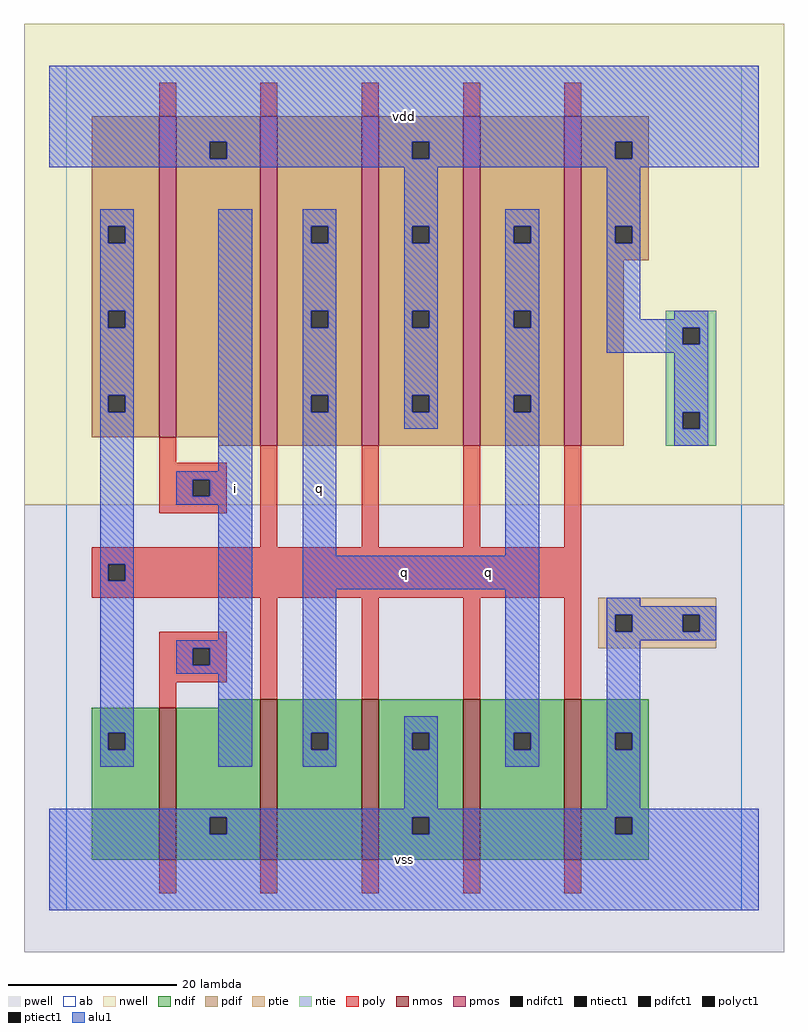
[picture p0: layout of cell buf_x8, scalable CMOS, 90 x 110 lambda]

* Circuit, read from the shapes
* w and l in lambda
.subckt buf_x8 i q vdd vss
M1 vss i n1 vss nfet w=18 l=2
M2 q n1 vss vss nfet w=19 l=2 m=4
M3 vdd i n1 vdd pfet w=38 l=2
M4 q n1 vdd vdd pfet w=39 l=2 m=4
.ends

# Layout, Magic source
magic
tech scmos
<< ab >>
rect 0 0 80 100
<< nwell >>
rect -5 48 85 105
<< pwell >>
rect -5 -5 85 48
<< poly >>
rect 11 94 13 98
rect 23 94 25 98
rect 35 94 37 98
rect 47 94 49 98
rect 59 94 61 98
rect 11 53 13 56
rect 11 51 19 53
rect 11 49 15 51
rect 17 49 19 51
rect 11 47 19 49
rect 23 43 25 55
rect 35 43 37 55
rect 47 43 49 55
rect 59 43 61 55
rect 3 41 61 43
rect 3 39 5 41
rect 7 39 61 41
rect 3 37 61 39
rect 11 31 19 33
rect 11 29 15 31
rect 17 29 19 31
rect 11 27 19 29
rect 11 24 13 27
rect 23 25 25 37
rect 35 25 37 37
rect 47 25 49 37
rect 59 25 61 37
rect 11 2 13 6
rect 23 2 25 6
rect 35 2 37 6
rect 47 2 49 6
rect 59 2 61 6
<< ndif >>
rect 18 24 23 25
rect 3 21 11 24
rect 3 19 5 21
rect 7 19 11 21
rect 3 6 11 19
rect 13 11 23 24
rect 13 9 17 11
rect 19 9 23 11
rect 13 6 23 9
rect 25 21 35 25
rect 25 19 29 21
rect 31 19 35 21
rect 25 6 35 19
rect 37 21 47 25
rect 37 19 41 21
rect 43 19 47 21
rect 37 11 47 19
rect 37 9 41 11
rect 43 9 47 11
rect 37 6 47 9
rect 49 21 59 25
rect 49 19 53 21
rect 55 19 59 21
rect 49 6 59 19
rect 61 21 69 25
rect 61 19 65 21
rect 67 19 69 21
rect 61 11 69 19
rect 61 9 65 11
rect 67 9 69 11
rect 61 6 69 9
<< pdif >>
rect 3 81 11 94
rect 3 79 5 81
rect 7 79 11 81
rect 3 71 11 79
rect 3 69 5 71
rect 7 69 11 71
rect 3 61 11 69
rect 3 59 5 61
rect 7 59 11 61
rect 3 56 11 59
rect 13 91 23 94
rect 13 89 17 91
rect 19 89 23 91
rect 13 56 23 89
rect 18 55 23 56
rect 25 81 35 94
rect 25 79 29 81
rect 31 79 35 81
rect 25 71 35 79
rect 25 69 29 71
rect 31 69 35 71
rect 25 61 35 69
rect 25 59 29 61
rect 31 59 35 61
rect 25 55 35 59
rect 37 91 47 94
rect 37 89 41 91
rect 43 89 47 91
rect 37 81 47 89
rect 37 79 41 81
rect 43 79 47 81
rect 37 71 47 79
rect 37 69 41 71
rect 43 69 47 71
rect 37 61 47 69
rect 37 59 41 61
rect 43 59 47 61
rect 37 55 47 59
rect 49 81 59 94
rect 49 79 53 81
rect 55 79 59 81
rect 49 71 59 79
rect 49 69 53 71
rect 55 69 59 71
rect 49 61 59 69
rect 49 59 53 61
rect 55 59 59 61
rect 49 55 59 59
rect 61 91 69 94
rect 61 89 65 91
rect 67 89 69 91
rect 61 81 69 89
rect 61 79 65 81
rect 67 79 69 81
rect 61 77 69 79
rect 61 55 66 77
<< alu1 >>
rect -2 91 82 100
rect -2 89 17 91
rect 19 89 41 91
rect 43 89 65 91
rect 67 89 82 91
rect -2 88 82 89
rect 4 81 8 83
rect 4 79 5 81
rect 7 79 8 81
rect 4 71 8 79
rect 4 69 5 71
rect 7 69 8 71
rect 4 61 8 69
rect 4 59 5 61
rect 7 59 8 61
rect 4 41 8 59
rect 18 52 22 83
rect 13 51 22 52
rect 13 49 15 51
rect 17 49 22 51
rect 13 48 22 49
rect 4 39 5 41
rect 7 39 8 41
rect 4 21 8 39
rect 18 32 22 48
rect 13 31 22 32
rect 13 29 15 31
rect 17 29 22 31
rect 13 28 22 29
rect 4 19 5 21
rect 7 19 8 21
rect 4 17 8 19
rect 18 17 22 28
rect 28 81 32 83
rect 28 79 29 81
rect 31 79 32 81
rect 28 71 32 79
rect 28 69 29 71
rect 31 69 32 71
rect 28 61 32 69
rect 28 59 29 61
rect 31 59 32 61
rect 28 42 32 59
rect 40 81 44 88
rect 40 79 41 81
rect 43 79 44 81
rect 40 71 44 79
rect 40 69 41 71
rect 43 69 44 71
rect 40 61 44 69
rect 40 59 41 61
rect 43 59 44 61
rect 40 57 44 59
rect 52 81 56 83
rect 52 79 53 81
rect 55 79 56 81
rect 52 71 56 79
rect 52 69 53 71
rect 55 69 56 71
rect 52 61 56 69
rect 64 81 68 88
rect 64 79 65 81
rect 67 79 68 81
rect 64 70 68 79
rect 72 70 76 71
rect 64 69 76 70
rect 64 67 73 69
rect 75 67 76 69
rect 64 66 76 67
rect 52 59 53 61
rect 55 59 56 61
rect 52 42 56 59
rect 72 59 76 66
rect 72 57 73 59
rect 75 57 76 59
rect 72 55 76 57
rect 28 38 56 42
rect 28 21 32 38
rect 28 19 29 21
rect 31 19 32 21
rect 28 17 32 19
rect 40 21 44 23
rect 40 19 41 21
rect 43 19 44 21
rect 40 12 44 19
rect 52 21 56 38
rect 52 19 53 21
rect 55 19 56 21
rect 52 17 56 19
rect 64 36 68 37
rect 64 35 77 36
rect 64 33 65 35
rect 67 33 73 35
rect 75 33 77 35
rect 64 32 77 33
rect 64 21 68 32
rect 64 19 65 21
rect 67 19 68 21
rect 64 12 68 19
rect -2 11 82 12
rect -2 9 17 11
rect 19 9 41 11
rect 43 9 65 11
rect 67 9 82 11
rect -2 0 82 9
<< ptie >>
rect 63 35 77 37
rect 63 33 65 35
rect 67 33 73 35
rect 75 33 77 35
rect 63 31 77 33
<< ntie >>
rect 71 69 77 71
rect 71 67 73 69
rect 75 67 77 69
rect 71 59 77 67
rect 71 57 73 59
rect 75 57 77 59
rect 71 55 77 57
<< nmos >>
rect 11 6 13 24
rect 23 6 25 25
rect 35 6 37 25
rect 47 6 49 25
rect 59 6 61 25
<< pmos >>
rect 11 56 13 94
rect 23 55 25 94
rect 35 55 37 94
rect 47 55 49 94
rect 59 55 61 94
<< polyct1 >>
rect 15 49 17 51
rect 5 39 7 41
rect 15 29 17 31
<< ndifct1 >>
rect 5 19 7 21
rect 17 9 19 11
rect 29 19 31 21
rect 41 19 43 21
rect 41 9 43 11
rect 53 19 55 21
rect 65 19 67 21
rect 65 9 67 11
<< ntiect1 >>
rect 73 67 75 69
rect 73 57 75 59
<< ptiect1 >>
rect 65 33 67 35
rect 73 33 75 35
<< pdifct1 >>
rect 5 79 7 81
rect 5 69 7 71
rect 5 59 7 61
rect 17 89 19 91
rect 29 79 31 81
rect 29 69 31 71
rect 29 59 31 61
rect 41 89 43 91
rect 41 79 43 81
rect 41 69 43 71
rect 41 59 43 61
rect 53 79 55 81
rect 53 69 55 71
rect 53 59 55 61
rect 65 89 67 91
rect 65 79 67 81
<< labels >>
rlabel alu1 30 50 30 50 6 q
rlabel alu1 20 50 20 50 6 i
rlabel alu1 40 6 40 6 6 vss
rlabel alu1 40 40 40 40 6 q
rlabel alu1 50 40 50 40 6 q
rlabel alu1 40 94 40 94 6 vdd
<< end >>
